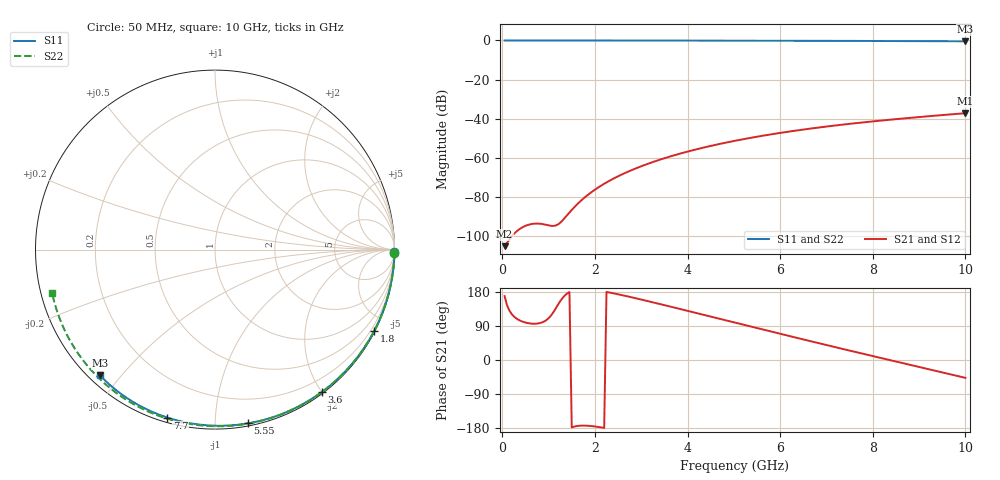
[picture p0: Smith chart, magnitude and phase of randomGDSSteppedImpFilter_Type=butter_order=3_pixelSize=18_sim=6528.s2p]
! freq	dB(S11)	phase(S11)	dB(S12)	phase(S12)
!  dB(S21)	phase(S21)	dB(S22)	phase(S22)
!S-par simulation data
#  GHz  S  DB  R 50
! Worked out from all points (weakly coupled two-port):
!   200 points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, 50 MHz to 10 GHz, reference 50 ohm
!   highest |S21| = -37.20 dB at 10 GHz (marker M1); lowest = -105.2 dB at 50 MHz (marker M2)
!   lowest |S11| = -0.4 dB at 10 GHz (marker M3), VSWR 38.72, Z = 1.54 - j22 ohm
!   |S11| at or under -10 dB: nowhere
!   |S22| runs from -0.5 to 0.0 dB; largest |S21 - S12| = 0
!   S11 on the Smith chart (normalised r, x): 50 MHz: open; 1.8 GHz: 0.04, -4.14; 3.6 GHz: 0.02, -2.00; 5.55 GHz: 0.02, -1.21; 7.7 GHz: 0.02, -0.76; 10 GHz: 0.03, -0.44
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0.05  -0.00 -0.8  -105.22 168.7  -105.22 168.7  -0.00 -1.0
0.45  -0.01 -6.9  -95.37 100.7  -95.37 100.7  -0.01 -8.6
0.85  -0.02 -12.9  -93.84 98.8  -93.84 98.8  -0.02 -16.2
1.3  -0.02 -19.7  -92.08 163.5  -92.08 163.5  -0.03 -24.7
1.75  -0.03 -26.4  -80.89 -173.1  -80.89 -173.1  -0.04 -33.0
1.8  -0.03 -27.1  -79.89 -173.2  -79.89 -173.2  -0.04 -33.9
1.95  -0.04 -29.3  -77.17 -174.7  -77.17 -174.7  -0.05 -36.7
2.1  -0.04 -31.6  -74.76 -177.2  -74.76 -177.2  -0.05 -39.4
2.3  -0.04 -34.5  -71.95 178.4  -71.95 178.4  -0.06 -43.1
2.5  -0.05 -37.4  -69.48 173.4  -69.48 173.4  -0.06 -46.7
2.9  -0.06 -43.2  -65.27 162.4  -65.27 162.4  -0.07 -53.8
3.4  -0.07 -50.3  -61.00 147.8  -61.00 147.8  -0.08 -62.5
3.6  -0.07 -53.1  -59.52 141.8  -59.52 141.8  -0.09 -66.0
4.3  -0.09 -62.7  -55.05 120.7  -55.05 120.7  -0.11 -77.7
5.05  -0.11 -72.7  -51.20 97.9  -51.20 97.9  -0.14 -90.0
5.55  -0.13 -79.2  -49.03 82.8  -49.03 82.8  -0.16 -97.9
6.1  -0.15 -86.2  -46.93 66.2  -46.93 66.2  -0.19 -106.4
6.7  -0.18 -93.7  -44.93 48.3  -44.93 48.3  -0.23 -115.6
7.7  -0.24 -105.8  -42.13 19.0  -42.13 19.0  -0.30 -130.6
8.35  -0.29 -113.5  -40.58 0.3  -40.58 0.3  -0.36 -140.2
9.2  -0.36 -123.3  -38.76 -23.9  -38.76 -23.9  -0.45 -152.9
10  -0.45 -132.4  -37.20 -47.1  -37.20 -47.1  -0.55 -165.2
